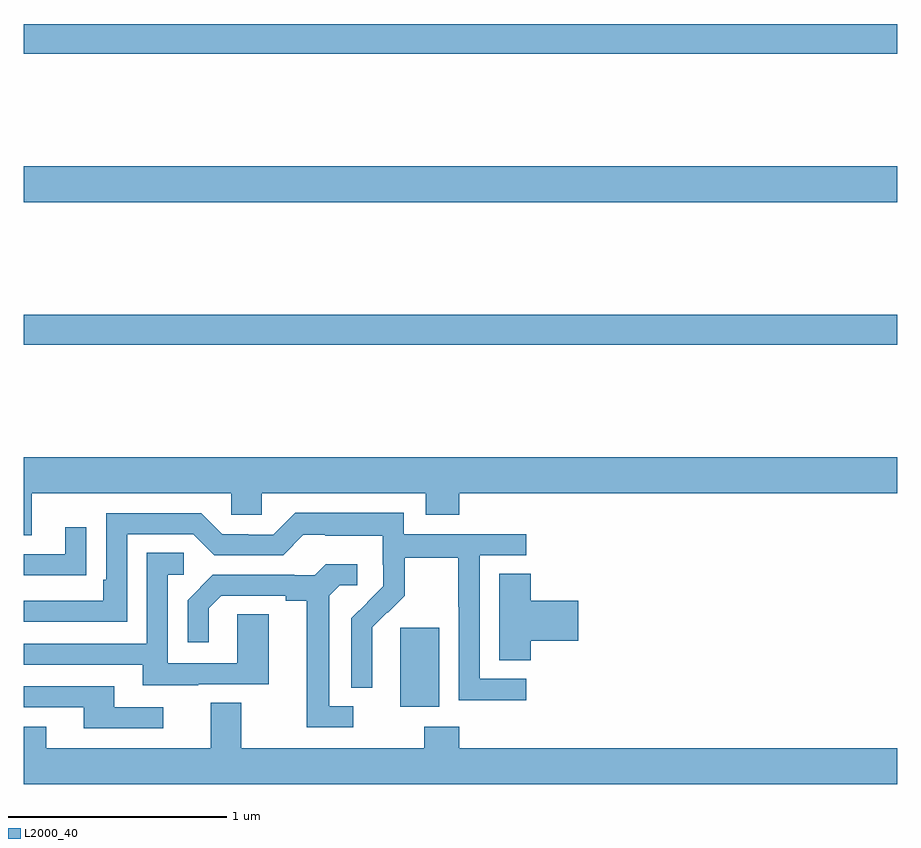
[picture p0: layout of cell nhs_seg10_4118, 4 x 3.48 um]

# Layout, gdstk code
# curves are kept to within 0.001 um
import gdstk
lib = gdstk.Library(unit=1e-6, precision=1e-09)
def R(c, l, rs):  # rectangles x0, y0, x1, y1
    for r in rs: c.add(gdstk.rectangle(r[:2], r[2:], *l))
def P(c, l, *ps):  # polygons
    for p in ps: c.add(gdstk.Polygon(p, *l))
L2000_40 = (2000, 40)

nhs_seg10_4118 = lib.new_cell('nhs_seg10_4118')
R(nhs_seg10_4118, L2000_40, [(340.724,1323.314,340.903,1323.675), (339,1324.972,343,1325.108), (339,1325.624,343,1325.788), (339,1326.304,343,1326.44)])
P(nhs_seg10_4118, L2000_40, [(339.037,1324.292),(339.951,1324.292),(339.951,1324.194),(340.089,1324.194),(340.089,1324.292),(340.841,1324.292),(340.841,1324.193),(340.994,1324.193),(340.994,1324.292),(343,1324.292),(343,1324.456),(339,1324.456),(339,1324.098),(339.037,1324.098)],
  [(341.302,1323.441),(341.088,1323.441),(341.088,1324.008),(341.302,1324.008),(341.302,1324.104),(340.74,1324.104),(340.74,1324.201),(340.243,1324.201),(340.143,1324.101),(340.028,1324.101),(340.028,1324.104),(339.909,1324.104),(339.813,1324.2),(339.378,1324.2),(339.378,1323.895),(339.365,1323.895),(339.365,1323.798),(339,1323.798),(339,1323.702),(339.474,1323.702),(339.474,1324.104),(339.777,1324.104),(339.873,1324.008),(340.188,1324.008),(340.281,1324.101),(340.381,1324.101),(340.381,1324.097),(340.644,1324.097),(340.644,1323.963),(340.646,1323.963),(340.646,1323.866),(340.5,1323.718),(340.5,1323.4),(340.596,1323.4),(340.595,1323.677),(340.665,1323.747),(340.668,1323.744),(340.745,1323.821),(340.745,1323.996),(340.99,1323.996),(340.99,1323.772),(340.992,1323.772),(340.992,1323.343),(341.302,1323.343)],
  [(339.185,1323.916),(339.287,1323.916),(339.287,1324.135),(339.191,1324.135),(339.191,1324.011),(339,1324.011),(339,1323.915),(339.185,1323.915)],
  [(339.799,1323.417),(340.123,1323.417),(340.123,1323.737),(339.978,1323.737),(339.978,1323.513),(339.66,1323.513),(339.66,1323.918),(339.733,1323.918),(339.733,1324.019),(339.564,1324.019),(339.564,1323.603),(339,1323.603),(339,1323.507),(339.545,1323.507),(339.545,1323.413),(339.799,1323.413)],
  [(340.51,1323.315),(340.399,1323.315),(340.399,1323.823),(340.446,1323.87),(340.528,1323.87),(340.528,1323.967),(340.384,1323.967),(340.332,1323.915),(340.238,1323.915),(340.238,1323.918),(339.866,1323.918),(339.75,1323.802),(339.75,1323.609),(339.847,1323.609),(339.847,1323.765),(339.904,1323.822),(340.199,1323.822),(340.199,1323.8),(340.295,1323.8),(340.295,1323.219),(340.51,1323.219)],
  [(341.321,1323.617),(341.539,1323.617),(341.539,1323.8),(341.321,1323.8),(341.321,1323.923),(341.177,1323.923),(341.177,1323.526),(341.321,1323.526)],
  [(339.64,1323.312),(339.415,1323.312),(339.415,1323.408),(339,1323.408),(339,1323.312),(339.275,1323.312),(339.275,1323.216),(339.64,1323.216)],
  [(343,1323.124),(340.994,1323.124),(340.994,1323.223),(340.834,1323.223),(340.834,1323.124),(339.997,1323.124),(339.997,1323.332),(339.857,1323.332),(339.857,1323.124),(339.103,1323.124),(339.103,1323.223),(339,1323.223),(339,1322.96),(343,1322.96)])

lib.write_gds('nhs_seg10_4118.gds')
